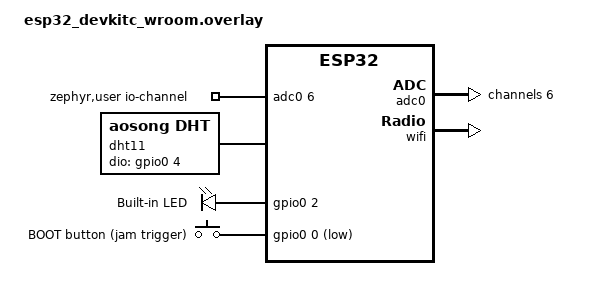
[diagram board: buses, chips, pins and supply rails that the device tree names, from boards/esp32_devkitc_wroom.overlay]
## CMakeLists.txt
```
cmake_minimum_required(VERSION 3.20.0)

find_package(Zephyr REQUIRED HINTS $ENV{ZEPHYR_BASE})
project(jamshield C)

target_sources(app PRIVATE
    src/main.c
    src/sensor_ldr.c
    src/jam_detect.c
    src/adaptive_threshold.c
    src/wifi_mqtt.c
    src/ble_gatt.c
    src/espnow_l2.c
    src/espnow_hal.c
    src/conn_mgr_setup.c
    src/payload_thread.c
    src/esp_ps_shim.c
    src/button.c
    src/control.c
)

target_include_directories(app PRIVATE include)
```

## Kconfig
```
# JamShield application Kconfig (sourced automatically by the Zephyr build).

config JS_ESPNOW
	bool "Enable ESP-NOW tertiary bearer"
	default n
	help
	  Compile the ESP-NOW shim against the Espressif HAL (esp_now.h /
	  esp_wifi.h) exposed by the Zephyr ESP32 port. Zephyr has no native
	  ESP-NOW L2, so this depends on those HAL headers being available in
	  the build. When disabled, espnow_l2.c builds as a logging stub and the
	  bearer manager treats ESP-NOW as unavailable, keeping the WiFi+BLE
	  failover path fully functional. See PRD.md Section 7.3.

source "Kconfig.zephyr"
```

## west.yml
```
# West manifest for the JamShield ESP32 application.
#
# NOTE: This repo is built against the standalone Zephyr workspace created by
# scripts/west_setup.sh (~/jamshield_workspace, Zephyr v3.6.0). This manifest is
# provided so the app can also be used as a T2-topology manifest repo
# (`west init -l src/esp32 && west update`) if desired.
manifest:
  remotes:
    - name: zephyrproject-rtos
      url-base: https://github.com/zephyrproject-rtos
  projects:
    - name: zephyr
      remote: zephyrproject-rtos
      revision: v3.6.0
      import: true
  self:
    path: app
```

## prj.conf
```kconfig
# JamShield — Zephyr Kconfig (PRD.md Appendix A, tuned for a clean v3.6 build).
# Some symbol names/sizes differ from the PRD draft to match real Zephyr 3.6.0
# on esp32_devkitc_wroom; see comments where adjusted.

# ---- JamShield options ----------------------------------------------------
# CONFIG_JS_ESPNOW: real ESP-NOW needs the esp_now_* symbols linked from the
# Espressif HAL, which this Zephyr 3.6 port doesn't export (link fails). Left
# off -> espnow_l2.c builds as a stub; WiFi->BLE failover is the live path.
# To do ESP-NOW for real, use a dedicated ESP-IDF firmware, not Zephyr.

# ---- Kernel ---------------------------------------------------------------
CONFIG_MAIN_STACK_SIZE=4096
CONFIG_HEAP_MEM_POOL_SIZE=16384
CONFIG_THREAD_NAME=y
CONFIG_THREAD_RUNTIME_STATS=y
CONFIG_SCHED_THREAD_USAGE=y
CONFIG_INIT_STACKS=y

# Stack overflow detection (CLAUDE.md critical rule 7)
CONFIG_STACK_SENTINEL=y
CONFIG_THREAD_ANALYZER=y
CONFIG_THREAD_ANALYZER_USE_LOG=y

# ---- Networking -----------------------------------------------------------
CONFIG_NETWORKING=y
CONFIG_NET_IPV4=y
CONFIG_NET_IPV6=n
CONFIG_NET_TCP=y
CONFIG_NET_UDP=y
CONFIG_NET_SOCKETS=y
CONFIG_NET_DHCPV4=y
CONFIG_DNS_RESOLVER=y
CONFIG_NET_MGMT=y
CONFIG_NET_MGMT_EVENT=y
CONFIG_NET_MGMT_EVENT_INFO=y

# Buffers (WiFi needs a healthy pool)
CONFIG_NET_PKT_RX_COUNT=10
CONFIG_NET_PKT_TX_COUNT=10
CONFIG_NET_BUF_RX_COUNT=16
CONFIG_NET_BUF_TX_COUNT=16
CONFIG_NET_MAX_CONTEXTS=6

# ---- WiFi -----------------------------------------------------------------
CONFIG_WIFI=y
CONFIG_WIFI_ESP32=y
CONFIG_NET_L2_WIFI_MGMT=y
CONFIG_NET_L2_ETHERNET=y
CONFIG_ESP32_WIFI_STA_AUTO_DHCPV4=y

# ---- Connectivity Manager (L4 connect/disconnect events) ------------------
CONFIG_NET_CONNECTION_MANAGER=y

# ---- MQTT -----------------------------------------------------------------
CONFIG_MQTT_LIB=y
CONFIG_MQTT_KEEPALIVE=60

# ---- Bluetooth (BLE peripheral) ------------------------------------------
CONFIG_BT=y
CONFIG_BT_PERIPHERAL=y
CONFIG_BT_DEVICE_NAME="JamShield"
CONFIG_BT_GATT_DYNAMIC_DB=y
CONFIG_BT_SMP=n
CONFIG_BT_PRIVACY=n

# ---- ADC (LDR) ------------------------------------------------------------
CONFIG_ADC=y

# ---- Crypto (WiFi WPA2 supplicant pulls this in) --------------------------
CONFIG_MBEDTLS=y
CONFIG_MBEDTLS_ENABLE_HEAP=y
CONFIG_MBEDTLS_HEAP_SIZE=10000

# ---- Timing / scheduling --------------------------------------------------
CONFIG_TIMING_FUNCTIONS=y
CONFIG_SYS_CLOCK_TICKS_PER_SEC=1000

# ---- Logging --------------------------------------------------------------
CONFIG_LOG=y
CONFIG_NET_LOG=y
CONFIG_LOG_MODE_DEFERRED=y
CONFIG_LOG_BACKEND_UART=y
CONFIG_LOG_DEFAULT_LEVEL=3
CONFIG_PRINTK=y

# ---- C library ------------------------------------------------------------
CONFIG_NEWLIB_LIBC=y
CONFIG_NEWLIB_LIBC_FLOAT_PRINTF=n
```

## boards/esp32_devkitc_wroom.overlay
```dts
/*
 * JamShield — ESP32 DevKit V1 device-tree overlay.
 * LDR voltage divider on GPIO34 = ADC1 channel 6. Built-in LED on GPIO2.
 *
 * The ADC channel is consumed via the standard "zephyr,user" node so the app
 * uses ADC_DT_SPEC_GET(DT_PATH(zephyr_user)). The ADC node label is verified
 * against the SoC DTS for this Zephyr version (see scripts/verify_dts notes).
 */
/ {
	zephyr,user {
		io-channels = <&adc0 6>;
	};

	/* DHT11 digital 1-wire on GPIO4 (separate pin from the LDR). Both sensors
	 * can be wired at once; CONFIG_JS_SENSOR_DHT11 chooses which one is read. */
	dht11: dht11 {
		compatible = "aosong,dht";
		status = "okay";
		dio-gpios = <&gpio0 4 (GPIO_ACTIVE_HIGH | GPIO_PULL_UP)>;
	};

	aliases {
		led0 = &led_builtin;
		sw0 = &boot_button;
	};

	leds {
		compatible = "gpio-leds";
		led_builtin: led_0 {
			gpios = <&gpio0 2 GPIO_ACTIVE_HIGH>;
			label = "Built-in LED";
		};
	};

	/* On-board BOOT button (GPIO0) reused at runtime as a manual jam trigger. */
	buttons {
		compatible = "gpio-keys";
		boot_button: button_0 {
			gpios = <&gpio0 0 (GPIO_ACTIVE_LOW | GPIO_PULL_UP)>;
			label = "BOOT button (jam trigger)";
			zephyr,code = <0>;
		};
	};
};

/* adc0 = ESP32 ADC unit 1; GPIO34 is ADC1_CH6 (verified against SoC DTS). */
&adc0 {
	status = "okay";
	#address-cells = <1>;
	#size-cells = <0>;

	channel@6 {
		reg = <6>;
		zephyr,gain = "ADC_GAIN_1_4";          /* ~11 dB atten -> 0..3.3V */
		zephyr,reference = "ADC_REF_INTERNAL";
		zephyr,acquisition-time = <ADC_ACQ_TIME_DEFAULT>;
		zephyr,resolution = <12>;
	};
};

&wifi {
	status = "okay";
};
```

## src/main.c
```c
/*
 * JamShield — application entry point.
 *
 * Boot/init order (PRD.md Section 6.1):
 *   1. BLE advertising            (start early so RPi4 can pre-connect)
 *   2. ESP-NOW shim               (tertiary bearer, no-op if disabled)
 *   3. WiFi + MQTT connect        (primary bearer)
 *   4. LDR sensor thread          (feeds adaptive thresholds)
 *   5. Bearer manager             (arms the jam->failover callback)
 *   6. Jamming detection thread   (highest priority)
 *   7. Payload thread             (build + send sensor packets)
 */
#include <zephyr/kernel.h>
#include <zephyr/logging/log.h>

#include "jamshield.h"
#include "sensor_ldr.h"
#include "jam_detect.h"
#include "wifi_mqtt.h"
#include "ble_gatt.h"
#include "espnow_l2.h"
#include "conn_mgr_setup.h"

LOG_MODULE_REGISTER(jamshield, LOG_LEVEL_INF);

/* Defined in payload_thread.c */
int payload_thread_start(void);
/* Defined in button.c */
int button_init(void);
/* Defined in control.c */
int control_init(void);

int main(void)
{
	LOG_INF("==== JamShield starting ====");
	LOG_INF("Board: %s", CONFIG_BOARD);

	if (ble_gatt_init() != 0) {
		LOG_ERR("BLE init failed (continuing without BLE bearer)");
	}

	(void)espnow_l2_init(); /* raw-802.11 ESP-NOW TX (espnow_hal.c) */

	if (wifi_mqtt_connect() != 0) {
		LOG_ERR("WiFi connect kickoff failed");
	}

	if (sensor_ldr_init() != 0) {
		LOG_ERR("LDR sensor init failed");
	}

	(void)conn_mgr_setup_init();
	(void)jam_detect_init();
	(void)payload_thread_start();
	(void)button_init();
	(void)control_init();

	LOG_INF("==== JamShield init complete ====");

	/* Idle: all work runs in dedicated threads. */
	while (1) {
		k_sleep(K_SECONDS(60));
		LOG_INF("alive: bearer=%s jam=%d rssi=%d loss=%u%% up=%llus",
			js_channel_str(conn_mgr_active_bearer()),
			jam_detect_get_state(), jam_detect_get_rssi(),
			jam_detect_get_loss_pct(), k_uptime_get() / 1000);
	}
	return 0;
}
```

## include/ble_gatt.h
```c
/*
 * JamShield — BLE GATT peripheral (secondary bearer).
 *
 * Advertises "JamShield" from boot and exposes a NOTIFY characteristic that
 * streams the 18-byte ble_sensor_payload. Advertising starts before any jam is
 * confirmed so the RPi4 can pre-connect and cut failover latency.
 * See PRD.md Section 7.2.
 */
#ifndef BLE_GATT_H
#define BLE_GATT_H

#include <stdbool.h>
#include "jamshield.h"

/* Enable BT, register the service, start advertising. Returns 0 on success. */
int ble_gatt_init(void);

/* Send one notification with the given payload. Returns 0 on success,
 * -ENOTCONN if no central is subscribed.
 */
int ble_gatt_send(const struct ble_sensor_payload *payload);

bool ble_gatt_is_connected(void);
bool ble_gatt_notifications_enabled(void);

#endif /* BLE_GATT_H */
```

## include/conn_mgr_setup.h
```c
/*
 * JamShield — bearer manager / protocol-hopping FSM.
 *
 * Application-level connectivity manager. Zephyr's conn_mgr provides a true
 * bearer abstraction only for net_if-backed L2s (WiFi here); BLE GATT and
 * ESP-NOW are not net interfaces, so this module unifies all three behind a
 * single "active bearer" state machine and a single send() entry point.
 * It also subscribes to WiFi L4 events via conn_mgr/net_mgmt.
 * See PRD.md Sections 6.3 and 9.
 */
#ifndef CONN_MGR_SETUP_H
#define CONN_MGR_SETUP_H

#include "jamshield.h"
#include "jam_detect.h"

/* Operating modes (switchable at runtime over USB serial from the dashboard). */
enum js_mode {
	JS_MODE_HOP   = 0, /* full failover WiFi -> BLE -> ESP-NOW (normal)     */
	JS_MODE_NOHOP = 1, /* stay on WiFi; when jammed, packets stop (problem) */
	JS_MODE_NOBLE = 2, /* failover skips BLE: WiFi -> ESP-NOW               */
};

void          js_mode_set(enum js_mode m);
enum js_mode  js_mode_get(void);
const char   *js_mode_str(enum js_mode m);

/* Initialize the bearer manager: subscribe to WiFi L4 events and arm the
 * jam-detection callback that drives failover. Returns 0 on success.
 */
int conn_mgr_setup_init(void);

/* The currently selected bearer. */
enum js_channel conn_mgr_active_bearer(void);

/* Send one payload over whichever bearer is active. Returns 0 on success. */
int conn_mgr_send(const struct ble_sensor_payload *bin,
		  const char *json, size_t json_len);

/* Drive the FSM forward to the highest-priority healthy bearer.
 * Called on jam confirmation (down-shift) and on recovery (up-shift).
 */
void trigger_bearer_failover(void);
void attempt_wifi_restore(void);

#endif /* CONN_MGR_SETUP_H */
```

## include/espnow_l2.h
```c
/*
 * JamShield — ESP-NOW tertiary bearer.
 *
 * Thin shim over the Espressif HAL exposed by the Zephyr ESP32 port. ESP-NOW
 * is connectionless (no association/DHCP), making it the hardest tier to jam.
 * The same 18-byte ble_sensor_payload is sent as a unicast to the RPi4 MAC.
 * See PRD.md Section 7.3.
 *
 * NOTE: Zephyr has no native ESP-NOW L2. If the Espressif esp_now headers are
 * not available in this build, this module compiles as a logging stub so the
 * rest of the system still builds and runs (guarded by CONFIG_JS_ESPNOW).
 */
#ifndef ESPNOW_L2_H
#define ESPNOW_L2_H

#include "jamshield.h"

/* Initialize ESP-NOW and register the RPi4 as a peer. Returns 0 on success,
 * negative errno on failure, -ENOTSUP if ESP-NOW is not compiled in.
 */
int espnow_l2_init(void);

/* Send one payload as an ESP-NOW unicast. */
int espnow_send_payload(const struct ble_sensor_payload *payload);

/* True if ESP-NOW was initialized and is usable. */
bool espnow_l2_is_ready(void);

#endif /* ESPNOW_L2_H */
```

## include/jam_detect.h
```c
/*
 * JamShield — jamming detection engine interface.
 *
 * Highest-priority application thread (prio 2). Samples WiFi RSSI + packet
 * loss every 100 ms and runs a dual-metric, hysteretic state machine. On a
 * confirmed jam it invokes a registered callback so the bearer manager can
 * fail over. See PRD.md Section 8.
 */
#ifndef JAM_DETECT_H
#define JAM_DETECT_H

#include <stdint.h>

typedef enum {
	JAM_STATE_CLEAR      = 0,
	JAM_STATE_SUSPECTED  = 1,
	JAM_STATE_CONFIRMED  = 2,
	JAM_STATE_RECOVERING = 3,
} jam_state_t;

/* Adaptive thresholds, tuned at runtime from the LDR (adaptive_threshold.c). */
struct jam_thresholds {
	int8_t   rssi_threshold;  /* dBm — suspect if RSSI below this        */
	uint8_t  loss_threshold;  /* %   — suspect if loss above this        */
	uint8_t  window_size;     /* packets in the loss sliding window      */
	uint32_t confirm_ms;      /* sustained degradation before CONFIRMED  */
};

/* Start the detection thread. Returns 0 on success. */
int jam_detect_init(void);

/* Current state / metrics (thread-safe scalars). */
jam_state_t jam_detect_get_state(void);
int8_t      jam_detect_get_rssi(void);
uint8_t     jam_detect_get_loss_pct(void);

/* Register a callback fired on every state change (from detection thread ctx). */
void jam_detect_register_callback(void (*cb)(jam_state_t new_state));

/* Packet accounting, called by the bearer/payload layer for loss tracking. */
void jam_detect_record_sent(void);
void jam_detect_record_acked(void);

/* ---- adaptive_threshold.c ---------------------------------------------- */
/* Recompute thresholds from the latest LDR reading (PRD.md Section 6.5). */
void update_thresholds_from_ldr(uint16_t ldr_adc_value);

/* Shared threshold block (defined in adaptive_threshold.c). */
extern struct jam_thresholds js_thresholds;

#endif /* JAM_DETECT_H */
```

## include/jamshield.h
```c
/*
 * JamShield — shared definitions
 *
 * Common types, the wire payload struct, and project-wide constants used
 * across every module. Keep this header free of Zephyr-subsystem includes so
 * it can be pulled in by any translation unit cheaply.
 */
#ifndef JAMSHIELD_H
#define JAMSHIELD_H

#include <stdint.h>
#include <zephyr/toolchain.h> /* __packed */

/* ---- Active communication bearer ---------------------------------------- */
enum js_channel {
	JS_CH_WIFI   = 0,
	JS_CH_BLE    = 1,
	JS_CH_ESPNOW = 2,
};

/* Human-readable channel name (always valid, never NULL). */
const char *js_channel_str(enum js_channel ch);

/* ---- Compact binary payload (BLE + ESP-NOW), 18 bytes ------------------- *
 * Layout is fixed and shared with the RPi4 receiver (struct.unpack '<IQBHbBB').
 * Do NOT reorder fields — the Python side depends on this exact layout.
 */
struct ble_sensor_payload {
	uint32_t seq;       /* bytes 0-3   : monotonic sequence number       */
	uint64_t ts_ms;     /* bytes 4-11  : k_uptime_get() at build time    */
	uint8_t  channel;   /* byte  12    : enum js_channel                 */
	uint16_t ldr_adc;   /* bytes 13-14 : raw 12-bit ADC reading          */
	int8_t   rssi;      /* byte  15    : last WiFi RSSI (dBm)            */
	uint8_t  jam_state; /* byte  16    : enum jam_state                  */
	uint8_t  cpu_util;  /* byte  17    : 0-100 %                          */
} __packed;

BUILD_ASSERT(sizeof(struct ble_sensor_payload) == 18,
	     "ble_sensor_payload must be exactly 18 bytes on the wire");

/* ---- Project-wide configuration ----------------------------------------- */
#define JS_WIFI_SSID        "loki"
#define JS_WIFI_PSK         "loki2536"
#define JS_MQTT_BROKER_IP   "10.212.77.136"  /* RPi4 on the LAN (broker) */
#define JS_MQTT_BROKER_PORT 1883
#define JS_MQTT_TOPIC       "jamshield/sensor/ldr"
#define JS_MQTT_EVENT_TOPIC "jamshield/events/failover"
/* On the ESP-NOW bearer the node also mirrors telemetry here (the Pi has no
 * ESP-NOW radio); the receiver tags these as channel=ESPNOW. Real ESP-NOW
 * frames still go out over the air via espnow_hal.c. */
#define JS_ESPNOW_TOPIC     "jamshield/sensor/espnow"
#define JS_BT_DEVICE_NAME   "JamShield"

#endif /* JAMSHIELD_H */
```

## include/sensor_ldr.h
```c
/*
 * JamShield — LDR (light dependent resistor) sensor interface.
 *
 * Reads GPIO34 / ADC1_CH6 every 1000 ms on a dedicated thread and exposes the
 * latest sample in a thread-safe way. All arithmetic is fixed-point integer —
 * no float in any thread (Xtensa LX6 FP rules, see CLAUDE.md critical rule 1).
 */
#ifndef SENSOR_LDR_H
#define SENSOR_LDR_H

#include <stdint.h>

struct ldr_reading {
	uint16_t adc_raw;      /* LDR: 0-4095 12-bit.  DHT11: temperature in C   */
	int16_t  temp_c10;     /* DHT11 temperature x10 (0 in LDR mode)          */
	uint8_t  humidity;     /* DHT11 relative humidity %  (0 in LDR mode)     */
	uint32_t timestamp_ms; /* k_uptime_get() at read time                    */
};

/* Initialize the ADC channel and start the sensor thread. Returns 0 on ok. */
int sensor_ldr_init(void);

/* Latest reading (thread-safe copy). */
struct ldr_reading sensor_ldr_get(void);

/* Approximate lux scaled x10 (one decimal of precision, integer only). */
uint32_t sensor_ldr_to_lux_x10(uint16_t adc_raw);

#endif /* SENSOR_LDR_H */
```

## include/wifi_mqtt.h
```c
/*
 * JamShield — WiFi station + MQTT publisher (primary bearer).
 *
 * Connects to the RPi4 hostapd network and publishes JSON sensor payloads to
 * the broker. Exposes connection state and the last measured RSSI for the
 * jamming detector. See PRD.md Section 7.1.
 */
#ifndef WIFI_MQTT_H
#define WIFI_MQTT_H

#include <stdbool.h>
#include <stddef.h>
#include <stdint.h>

/* Kick off WiFi association + MQTT connect (non-blocking; runs a mgmt thread).
 * Returns 0 if the connect sequence was started successfully.
 */
int wifi_mqtt_connect(void);

/* Tear down the MQTT session and disconnect WiFi (used on failover). */
void wifi_mqtt_disconnect(void);

/* Publish a pre-formatted payload to JS_MQTT_TOPIC at QoS1. */
int wifi_mqtt_publish(const char *topic, const char *payload, size_t len);

/* True once both WiFi (L4) and MQTT are connected. */
bool wifi_mqtt_is_connected(void);

/* True once the node has connected to the broker at least once (so a later
 * disconnect can be interpreted as a real jam, not a cold start). */
bool wifi_mqtt_was_connected(void);

/* Last RSSI sampled from the WiFi interface (dBm); 0 if unknown. */
int8_t wifi_mqtt_get_rssi(void);

/* Manual failover trigger for testing/experiments: true while a "JAM" command
 * has been received on the MQTT control topic (cleared by "CLEAR"). The jam
 * detector treats this as sustained degradation so the real failover FSM runs.
 */
bool wifi_mqtt_force_jam(void);

/* Toggle the manual jam on/off (used by the BOOT-button trigger). */
void wifi_mqtt_toggle_jam(void);

/* Force the manual jam on/off explicitly (used by the auto-demo thread). */
void wifi_mqtt_set_jam(bool on);

/* Must be pumped regularly to service MQTT keepalive / RX (called by payload thread). */
void wifi_mqtt_process(void);

#endif /* WIFI_MQTT_H */
```

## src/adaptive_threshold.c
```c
/*
 * JamShield — LDR-adaptive jamming thresholds (PRD.md Section 6.5).
 *
 * The LDR is used as a coarse proxy for ambient activity: a bright room tends
 * to mean people/devices present and naturally noisier RF, so we relax the
 * detector to avoid false positives; a dark/quiet room lets us be more
 * sensitive. Pure integer logic, safe to call from the sensor thread.
 */
#include <zephyr/kernel.h>
#include <zephyr/logging/log.h>

#include "jam_detect.h"

LOG_MODULE_REGISTER(adaptive_thr, LOG_LEVEL_INF);

#define LDR_BRIGHT_THRESHOLD 3000 /* ADC: bright room */
#define LDR_DIM_THRESHOLD    1000 /* ADC: dim room */

/* Shared with jam_detect.c. Default = "medium light" tier. */
struct jam_thresholds js_thresholds = {
	.rssi_threshold = -80,
	.loss_threshold = 30,
	.window_size    = 10,
	.confirm_ms     = 300,
};

void update_thresholds_from_ldr(uint16_t ldr_adc_value)
{
	int8_t new_rssi;
	uint8_t new_loss;
	uint32_t new_confirm;

	if (ldr_adc_value > LDR_BRIGHT_THRESHOLD) {
		new_rssi = -85;
		new_loss = 40;
		new_confirm = 400;
	} else if (ldr_adc_value > LDR_DIM_THRESHOLD) {
		new_rssi = -80;
		new_loss = 30;
		new_confirm = 300;
	} else {
		new_rssi = -75;
		new_loss = 20;
		new_confirm = 200;
	}

	/* Only log when something actually changed to keep the serial quiet. */
	if (new_rssi != js_thresholds.rssi_threshold ||
	    new_loss != js_thresholds.loss_threshold) {
		LOG_DBG("thresholds <- ldr=%u: rssi=%d loss=%u%% confirm=%ums",
			ldr_adc_value, new_rssi, new_loss, new_confirm);
	}

	js_thresholds.rssi_threshold = new_rssi;
	js_thresholds.loss_threshold = new_loss;
	js_thresholds.confirm_ms = new_confirm;
}
```

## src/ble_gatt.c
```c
/*
 * JamShield — BLE GATT peripheral (PRD.md Section 7.2).
 *
 * Advertises "JamShield" from boot (connectable) so the RPi4 central can
 * pre-connect before any failover. Exposes:
 *   Service 0x1234
 *     Char 0x1235 (NOTIFY | READ) -> 18-byte ble_sensor_payload
 * On failover the bearer manager simply starts calling ble_gatt_send().
 */
#include <zephyr/kernel.h>
#include <zephyr/logging/log.h>
#include <zephyr/bluetooth/bluetooth.h>
#include <zephyr/bluetooth/conn.h>
#include <zephyr/bluetooth/gatt.h>
#include <zephyr/bluetooth/uuid.h>

#include "ble_gatt.h"

LOG_MODULE_REGISTER(ble_gatt, LOG_LEVEL_INF);

#define BT_UUID_JS_SERVICE BT_UUID_DECLARE_16(0x1234)
#define BT_UUID_JS_SENSOR  BT_UUID_DECLARE_16(0x1235)

static volatile bool notify_enabled;
static struct bt_conn *current_conn;

/* Cached last payload, served on a GATT READ. */
static struct ble_sensor_payload last_payload;

static void ccc_changed(const struct bt_gatt_attr *attr, uint16_t value)
{
	ARG_UNUSED(attr);
	notify_enabled = (value == BT_GATT_CCC_NOTIFY);
	LOG_INF("BLE notifications %s", notify_enabled ? "enabled" : "disabled");
}

static ssize_t read_sensor(struct bt_conn *conn, const struct bt_gatt_attr *attr,
			   void *buf, uint16_t len, uint16_t offset)
{
	ARG_UNUSED(conn);
	return bt_gatt_attr_read(conn, attr, buf, len, offset, &last_payload,
				 sizeof(last_payload));
}

/* attrs[0]=service, [1]=char decl, [2]=char value, [3]=CCC */
BT_GATT_SERVICE_DEFINE(js_svc,
	BT_GATT_PRIMARY_SERVICE(BT_UUID_JS_SERVICE),
	BT_GATT_CHARACTERISTIC(BT_UUID_JS_SENSOR,
			       BT_GATT_CHRC_NOTIFY | BT_GATT_CHRC_READ,
			       BT_GATT_PERM_READ,
			       read_sensor, NULL, &last_payload),
	BT_GATT_CCC(ccc_changed, BT_GATT_PERM_READ | BT_GATT_PERM_WRITE),
);

static const struct bt_data ad[] = {
	BT_DATA_BYTES(BT_DATA_FLAGS, (BT_LE_AD_GENERAL | BT_LE_AD_NO_BREDR)),
	BT_DATA(BT_DATA_NAME_COMPLETE, JS_BT_DEVICE_NAME,
		sizeof(JS_BT_DEVICE_NAME) - 1),
};

static int start_adv(void)
{
	int err = bt_le_adv_start(BT_LE_ADV_CONN, ad, ARRAY_SIZE(ad), NULL, 0);

	if (err) {
		LOG_ERR("Advertising start failed: %d", err);
	} else {
		LOG_INF("BLE advertising as '%s'", JS_BT_DEVICE_NAME);
	}
	return err;
}

static void connected(struct bt_conn *conn, uint8_t err)
{
	char addr[BT_ADDR_LE_STR_LEN];

	if (err) {
		LOG_WRN("BLE connection failed: %u", err);
		return;
	}
	bt_addr_le_to_str(bt_conn_get_dst(conn), addr, sizeof(addr));
	current_conn = bt_conn_ref(conn);
	LOG_INF("BLE connected: %s", addr);
}

static void disconnected(struct bt_conn *conn, uint8_t reason)
{
	ARG_UNUSED(conn);
	LOG_WRN("BLE disconnected (reason %u), restarting adv", reason);
	notify_enabled = false;
	if (current_conn) {
		bt_conn_unref(current_conn);
		current_conn = NULL;
	}
	(void)start_adv();
}

BT_CONN_CB_DEFINE(conn_callbacks) = {
	.connected = connected,
	.disconnected = disconnected,
};

int ble_gatt_init(void)
{
	int err = bt_enable(NULL);

	if (err) {
		LOG_ERR("bt_enable failed: %d", err);
		return err;
	}
	LOG_INF("Bluetooth initialized");
	return start_adv();
}

int ble_gatt_send(const struct ble_sensor_payload *payload)
{
	if (!payload) {
		return -EINVAL;
	}

	last_payload = *payload;

	if (!current_conn || !notify_enabled) {
		return -ENOTCONN;
	}

	/* attrs[2] is the characteristic value attribute. */
	int ret = bt_gatt_notify(current_conn, &js_svc.attrs[2], payload,
				 sizeof(*payload));
	if (ret) {
		LOG_DBG("bt_gatt_notify failed: %d", ret);
	}
	return ret;
}

bool ble_gatt_is_connected(void)
{
	return current_conn != NULL;
}

bool ble_gatt_notifications_enabled(void)
{
	return notify_enabled;
}
```

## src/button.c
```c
/*
 * JamShield — BOOT button jam trigger.
 *
 * The on-board BOOT button (GPIO0) is reused at runtime as a manual,
 * network-independent jam trigger for live demos: one press toggles the forced
 * jam (WiFi -> BLE failover); press again, or wait for the 15 s auto-expire, to
 * recover. This works even when the network can't deliver the MQTT control
 * message (e.g. phone hotspots that drop downlink to the node).
 *
 * NOTE: GPIO0 is a strapping pin — do not hold it during power-on/reset or the
 * chip enters serial-download mode. It is only read after boot.
 */
#include <zephyr/kernel.h>
#include <zephyr/drivers/gpio.h>
#include <zephyr/logging/log.h>

#include "wifi_mqtt.h"

LOG_MODULE_REGISTER(button, LOG_LEVEL_INF);

static const struct gpio_dt_spec btn = GPIO_DT_SPEC_GET(DT_ALIAS(sw0), gpios);
static struct gpio_callback cb_data;
static int64_t last_press_ms;

static void on_press(const struct device *dev, struct gpio_callback *cb,
		     uint32_t pins)
{
	ARG_UNUSED(dev);
	ARG_UNUSED(cb);
	ARG_UNUSED(pins);

	int64_t now = k_uptime_get();

	if (now - last_press_ms < 300) {
		return; /* debounce */
	}
	last_press_ms = now;
	wifi_mqtt_toggle_jam();
}

int button_init(void)
{
	if (!gpio_is_ready_dt(&btn)) {
		LOG_ERR("BOOT button GPIO not ready");
		return -ENODEV;
	}

	gpio_pin_configure_dt(&btn, GPIO_INPUT);
	gpio_pin_interrupt_configure_dt(&btn, GPIO_INT_EDGE_TO_ACTIVE);
	gpio_init_callback(&cb_data, on_press, BIT(btn.pin));
	gpio_add_callback(btn.port, &cb_data);

	LOG_INF("BOOT button armed (press = toggle jam)");
	return 0;
}
```

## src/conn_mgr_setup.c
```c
/*
 * JamShield — bearer manager / protocol-hopping FSM (PRD.md Sections 6.3, 9).
 *
 * Unifies the three bearers behind one "active bearer" and one send() entry
 * point, and drives failover/restore from jamming-detection state changes:
 *
 *   WiFi (prio 1) --jam confirmed--> BLE (prio 2) --BLE down--> ESP-NOW (prio 3)
 *        ^------------------------ jam cleared --------------------------|
 *
 * WiFi association is intentionally kept up during failover so the detector can
 * keep sampling RSSI and spot jam cessation; we simply stop publishing on it.
 */
#include <zephyr/kernel.h>
#include <zephyr/logging/log.h>

#include "conn_mgr_setup.h"
#include "wifi_mqtt.h"
#include "ble_gatt.h"
#include "espnow_l2.h"

LOG_MODULE_REGISTER(bearer_mgr, LOG_LEVEL_INF);

static volatile enum js_channel active = JS_CH_WIFI;
static volatile enum js_mode mode = JS_MODE_HOP;
static uint64_t last_switch_ms;

const char *js_mode_str(enum js_mode m)
{
	switch (m) {
	case JS_MODE_HOP:   return "HOP";
	case JS_MODE_NOHOP: return "NOHOP";
	case JS_MODE_NOBLE: return "NOBLE";
	default:            return "?";
	}
}

enum js_mode js_mode_get(void)
{
	return mode;
}

void js_mode_set(enum js_mode m)
{
	mode = m;
	LOG_WRN("MODE set to %s", js_mode_str(m));
	/* Returning to HOP/normal: if no jam, make sure we're back on WiFi. */
	if (m != JS_MODE_NOHOP) {
		attempt_wifi_restore();
	}
}

const char *js_channel_str(enum js_channel ch)
{
	switch (ch) {
	case JS_CH_WIFI:   return "WIFI";
	case JS_CH_BLE:    return "BLE";
	case JS_CH_ESPNOW: return "ESPNOW";
	default:           return "UNKNOWN";
	}
}

enum js_channel conn_mgr_active_bearer(void)
{
	return active;
}

static void switch_to(enum js_channel to, const char *why)
{
	enum js_channel from = active;
	uint64_t now = k_uptime_get();

	if (to == from) {
		return;
	}

	active = to;
	LOG_WRN("FAILOVER %s -> %s (%s) at t=%llu ms (dwell %llu ms)",
		js_channel_str(from), js_channel_str(to), why, now,
		last_switch_ms ? now - last_switch_ms : 0);
	last_switch_ms = now;

	/* Emit a machine-parseable marker on the serial log for the analysis
	 * pipeline; the RPi4 also infers failover from the channel field.
	 */
	LOG_INF("{\"event\":\"FAILOVER\",\"from\":\"%s\",\"to\":\"%s\",\"ts_ms\":%llu}",
		js_channel_str(from), js_channel_str(to), now);
}

void trigger_bearer_failover(void)
{
	if (mode == JS_MODE_NOHOP) {
		/* Protection OFF: demonstrate the problem — stay on WiFi and let
		 * packets drop while jammed. No failover.
		 */
		LOG_WRN("Jam detected, mode=NOHOP: staying on WiFi, packets DROPPING");
		return;
	}

	if (mode == JS_MODE_NOBLE) {
		/* Skip BLE entirely: WiFi -> ESP-NOW. */
		switch_to(JS_CH_ESPNOW, "jam confirmed, NOBLE -> ESP-NOW");
		return;
	}

	/* HOP: highest-priority bearer below WiFi that is currently usable. */
	if (ble_gatt_is_connected()) {
		switch_to(JS_CH_BLE, "jam confirmed, BLE up");
	} else if (espnow_l2_is_ready()) {
		switch_to(JS_CH_ESPNOW, "jam confirmed, ESP-NOW up");
	} else {
		/* No fallback connected yet: prefer BLE optimistically so the
		 * payload thread starts notifying as soon as a central attaches.
		 */
		switch_to(JS_CH_BLE, "jam confirmed, awaiting BLE central");
	}
}

void attempt_wifi_restore(void)
{
	if (wifi_mqtt_is_connected()) {
		switch_to(JS_CH_WIFI, "jam cleared, WiFi restored");
	}
}

/* Demote one tier when the current fallback also fails. */
static void demote_if_needed(void)
{
	if (mode == JS_MODE_HOP && active == JS_CH_BLE &&
	    !ble_gatt_is_connected() && espnow_l2_is_ready()) {
		switch_to(JS_CH_ESPNOW, "BLE lost");
	}
}

/* jam_detect state-change callback (runs in detection thread context). */
static void on_jam_state(jam_state_t s)
{
	switch (s) {
	case JAM_STATE_CONFIRMED:
		trigger_bearer_failover();
		break;
	case JAM_STATE_CLEAR:
		attempt_wifi_restore();
		break;
	default:
		break;
	}
}

int conn_mgr_send(const struct ble_sensor_payload *bin, const char *json,
		  size_t json_len)
{
	demote_if_needed();

	switch (active) {
	case JS_CH_WIFI:
		/* WiFi can't deliver if it's down OR jammed. In NO-HOP mode the
		 * bearer stays WiFi, so this makes packets visibly drop while
		 * jammed (the "unprotected" demo). In HOP/NO-BLE we've already
		 * switched bearers, so this path isn't taken once failed over.
		 */
		if (!wifi_mqtt_is_connected() || wifi_mqtt_force_jam()) {
			return -ENOTCONN;
		}
		jam_detect_record_sent();
		return wifi_mqtt_publish(JS_MQTT_TOPIC, json, json_len);
	case JS_CH_BLE:
		return ble_gatt_send(bin);
	case JS_CH_ESPNOW:
		(void)espnow_send_payload(bin);   /* real ESP-NOW frame over the air */
		/* No OTA ESP-NOW receiver in this setup -> mirror the same telemetry
		 * over MQTT so the Pi/app can show the ESP-NOW bearer (logical jam
		 * keeps WiFi up). The JSON's channel field already reads "ESPNOW". */
		if (wifi_mqtt_is_connected()) {
			return wifi_mqtt_publish(JS_ESPNOW_TOPIC, json, json_len);
		}
		return 0;
	default:
		return -EINVAL;
	}
}

int conn_mgr_setup_init(void)
{
	jam_detect_register_callback(on_jam_state);
	active = JS_CH_WIFI;
	last_switch_ms = k_uptime_get();
	LOG_INF("Bearer manager ready (active=%s mode=%s)",
		js_channel_str(active), js_mode_str(mode));
	return 0;
}
```

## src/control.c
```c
/*
 * JamShield — USB serial control.
 *
 * Reads single-character commands from the console UART so the dashboard can
 * drive the node reliably over USB (the WiFi downlink is unreliable on some
 * APs/hotspots). Commands:
 *   h = HOP mode (full WiFi->BLE->ESP-NOW failover)
 *   n = NO-HOP mode (stay on WiFi; jammed = packets stop)
 *   e = NO-BLE mode (WiFi->ESP-NOW, skip BLE)
 *   j = force jam ON (manual test)     c = force jam OFF
 */
#include <zephyr/kernel.h>
#include <zephyr/device.h>
#include <zephyr/drivers/uart.h>
#include <zephyr/logging/log.h>

#include "conn_mgr_setup.h"
#include "wifi_mqtt.h"

LOG_MODULE_REGISTER(control, LOG_LEVEL_INF);

#define CTRL_STACK_SIZE 1024
#define CTRL_PRIORITY   7

static const struct device *const console_dev =
	DEVICE_DT_GET(DT_CHOSEN(zephyr_console));
static K_THREAD_STACK_DEFINE(ctrl_stack, CTRL_STACK_SIZE);
static struct k_thread ctrl_thread;

static void handle_cmd(uint8_t c)
{
	switch (c) {
	case 'h': case 'H': js_mode_set(JS_MODE_HOP);   break;
	case 'n': case 'N': js_mode_set(JS_MODE_NOHOP); break;
	case 'e': case 'E': js_mode_set(JS_MODE_NOBLE); break;
	case 'j': case 'J': wifi_mqtt_set_jam(true);    break;
	case 'c': case 'C': wifi_mqtt_set_jam(false);   break;
	default: break; /* ignore newlines / noise */
	}
}

static void ctrl_fn(void *p1, void *p2, void *p3)
{
	ARG_UNUSED(p1);
	ARG_UNUSED(p2);
	ARG_UNUSED(p3);

	uint8_t ch;

	while (1) {
		while (uart_poll_in(console_dev, &ch) == 0) {
			handle_cmd(ch);
		}
		k_msleep(40);
	}
}

int control_init(void)
{
	if (!device_is_ready(console_dev)) {
		LOG_ERR("console UART not ready for control input");
		return -ENODEV;
	}

	k_thread_create(&ctrl_thread, ctrl_stack,
			K_THREAD_STACK_SIZEOF(ctrl_stack),
			ctrl_fn, NULL, NULL, NULL, CTRL_PRIORITY, 0, K_NO_WAIT);
	k_thread_name_set(&ctrl_thread, "control");
	LOG_INF("Serial control ready (h/n/e=mode, j/c=jam)");
	return 0;
}
```
